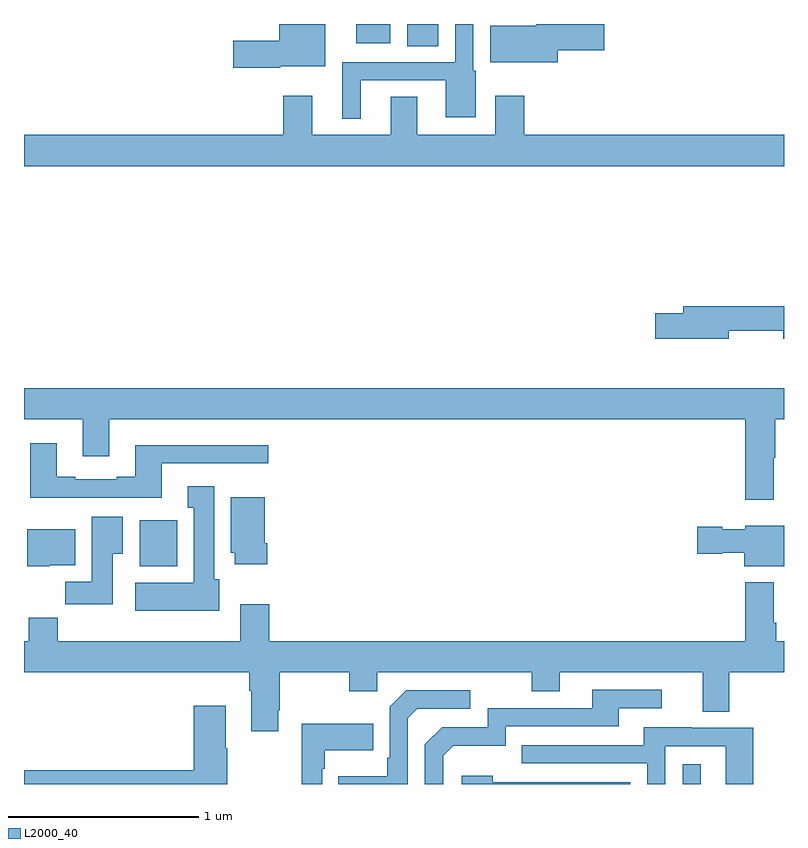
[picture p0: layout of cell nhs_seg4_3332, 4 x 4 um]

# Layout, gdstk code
import gdstk
lib = gdstk.Library(unit=1e-6, precision=1e-09)
def R(c, l, rs):  # rectangles x0, y0, x1, y1
    for r in rs: c.add(gdstk.rectangle(r[:2], r[2:], *l))
def P(c, l, *ps):  # polygons
    for p in ps: c.add(gdstk.Polygon(p, *l))
L2000_40 = (2000, 40)

nhs_seg4_3332 = lib.new_cell('nhs_seg4_3332')
R(nhs_seg4_3332, L2000_40, [(290.466,794.9,290.563,795.004), (287.609,796.046,287.806,796.288), (289.016,798.784,289.18,798.9), (288.749,798.8,288.928,798.9)])
P(nhs_seg4_3332, L2000_40, [(289.81,798.763),(290.053,798.763),(290.053,798.9),(289.696,798.9),(289.696,798.892),(289.454,798.892),(289.454,798.698),(289.81,798.698)],
  [(288.348,798.677),(288.586,798.677),(288.586,798.9),(288.344,798.9),(288.344,798.812),(288.102,798.812),(288.102,798.67),(288.348,798.67)],
  [(288.772,798.603),(289.22,798.603),(289.22,798.41),(289.378,798.41),(289.378,798.655),(289.365,798.655),(289.365,798.9),(289.269,798.9),(289.269,798.699),(288.674,798.699),(288.674,798.402),(288.772,798.402)],
  [(291,798.316),(289.634,798.316),(289.634,798.523),(289.481,798.523),(289.481,798.316),(289.069,798.316),(289.069,798.518),(288.929,798.518),(288.929,798.316),(288.517,798.316),(288.517,798.523),(288.365,798.523),(288.365,798.316),(287,798.316),(287,798.152),(291,798.152)],
  [(290.71,797.286),(290.996,797.286),(290.996,797.243),(291,797.243),(291,797.414),(290.471,797.414),(290.471,797.378),(290.322,797.378),(290.322,797.243),(290.71,797.243)],
  [(290.947,796.616),(290.955,796.616),(290.955,796.82),(291,796.82),(291,796.984),(287,796.984),(287,796.82),(287.309,796.82),(287.309,796.626),(287.449,796.626),(287.449,796.82),(290.795,796.82),(290.795,796.395),(290.947,796.395)],
  [(287.261,796.407),(287.725,796.407),(287.725,796.587),(288.286,796.587),(288.286,796.684),(287.585,796.684),(287.585,796.516),(287.489,796.516),(287.489,796.503),(287.269,796.503),(287.269,796.516),(287.173,796.516),(287.173,796.693),(287.033,796.693),(287.033,796.406),(287.261,796.406)],
  [(288.028,795.978),(288.001,795.978),(288.001,796.468),(287.861,796.468),(287.861,796.355),(287.894,796.355),(287.894,795.958),(287.585,795.958),(287.585,795.812),(288.028,795.812)],
  [(288.281,796.168),(288.268,796.168),(288.268,796.408),(288.089,796.408),(288.089,796.116),(288.11,796.116),(288.11,796.056),(288.281,796.056)],
  [(287.467,796.112),(287.521,796.112),(287.521,796.306),(287.357,796.306),(287.357,795.964),(287.218,795.964),(287.218,795.846),(287.467,795.846)],
  [(291,796.258),(290.796,796.258),(290.796,796.24),(290.676,796.24),(290.676,796.253),(290.544,796.253),(290.544,796.111),(290.676,796.111),(290.676,796.118),(290.792,796.118),(290.792,796.046),(291,796.046)],
  [(287.136,796.052),(287.269,796.052),(287.269,796.24),(287.018,796.24),(287.018,796.046),(287.136,796.046)],
  [(288.337,795.289),(288.345,795.289),(288.345,795.488),(288.712,795.488),(288.712,795.389),(288.858,795.389),(288.858,795.488),(289.672,795.488),(289.672,795.389),(289.819,795.389),(289.819,795.488),(290.573,795.488),(290.573,795.28),(290.713,795.28),(290.713,795.488),(291,795.488),(291,795.652),(290.96,795.652),(290.96,795.748),(290.947,795.748),(290.947,795.961),(290.795,795.961),(290.795,795.652),(288.29,795.652),(288.29,795.847),(288.137,795.847),(288.137,795.652),(287.177,795.652),(287.177,795.776),(287.026,795.776),(287.026,795.652),(287,795.652),(287,795.488),(288.185,795.488),(288.185,795.392),(288.197,795.392),(288.197,795.177),(288.337,795.177)],
  [(289.206,795.048),(289.259,795.101),(289.536,795.101),(289.536,795.204),(290.131,795.204),(290.131,795.3),(290.356,795.3),(290.356,795.396),(289.991,795.396),(289.991,795.3),(289.44,795.3),(289.44,795.198),(289.2,795.198),(289.11,795.108),(289.11,794.9),(289.206,794.9)],
  [(289.02,795.246),(289.071,795.297),(289.348,795.297),(289.348,795.393),(289.011,795.393),(288.924,795.306),(288.924,795.037),(288.912,795.037),(288.912,794.941),(288.655,794.941),(288.655,794.9),(289.02,794.9)],
  [(288.069,795.089),(288.061,795.089),(288.061,795.313),(287.894,795.313),(287.894,794.972),(287,794.972),(287,794.9),(288.069,794.9)],
  [(288.57,794.981),(288.583,794.981),(288.583,795.077),(288.839,795.077),(288.839,795.217),(288.462,795.217),(288.462,794.9),(288.57,794.9)],
  [(290.376,795.099),(290.694,795.099),(290.694,794.9),(290.839,794.9),(290.839,795.195),(290.515,795.195),(290.515,795.199),(290.261,795.199),(290.261,795.105),(289.621,795.105),(289.621,795.009),(290.28,795.009),(290.28,794.9),(290.376,794.9)],
  [(290.19,794.91),(289.466,794.91),(289.466,794.944),(289.305,794.944),(289.305,794.9),(290.19,794.9)])

lib.write_gds('nhs_seg4_3332.gds')
